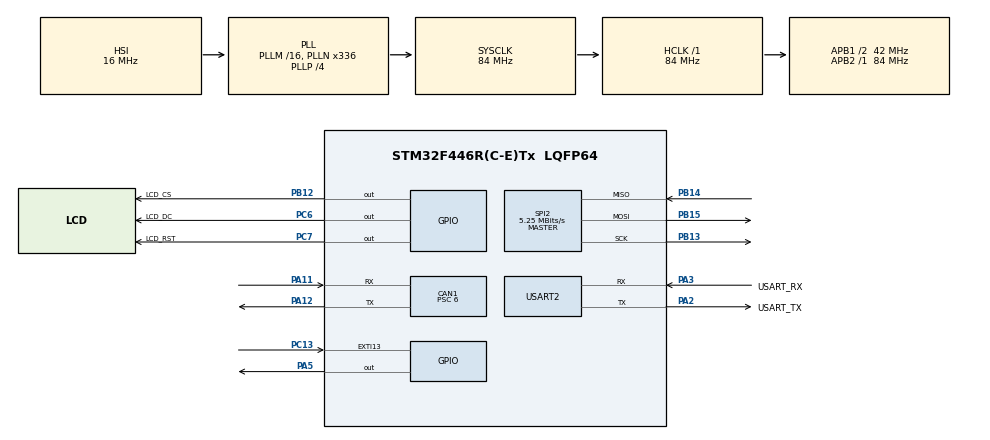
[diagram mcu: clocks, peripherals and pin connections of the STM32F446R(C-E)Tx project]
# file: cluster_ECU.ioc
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CAN1.ABOM=ENABLE
CAN1.BS1=CAN_BS1_11TQ
CAN1.BS2=CAN_BS2_2TQ
CAN1.CalculateBaudRate=500000
CAN1.CalculateTimeBit=2000
CAN1.CalculateTimeQuantum=142.85714285714286
CAN1.Mode=CAN_MODE_NORMAL
CAN1.NART=ENABLE
CAN1.Prescaler=6
Dma.Request0=SPI2_TX
Dma.SPI2_TX.0.Direction=DMA_MEMORY_TO_PERIPH
Dma.SPI2_TX.0.FIFOMode=DMA_FIFOMODE_DISABLE
Dma.SPI2_TX.0.Instance=DMA1_Stream4
Dma.SPI2_TX.0.MemDataAlignment=DMA_MDATAALIGN_BYTE
Dma.SPI2_TX.0.MemInc=DMA_MINC_ENABLE
Dma.SPI2_TX.0.Mode=DMA_NORMAL
Dma.SPI2_TX.0.PeriphDataAlignment=DMA_PDATAALIGN_BYTE
Dma.SPI2_TX.0.PeriphInc=DMA_PINC_DISABLE
Dma.SPI2_TX.0.Priority=DMA_PRIORITY_LOW
FREERTOS.Tasks01=defaultTask,24,2048,StartDefaultTask,Default,NULL,Dynamic,NULL,NULL;canTask,32,512,StartCanTask,Default,NULL,Dynamic,NULL,NULL
FREERTOS.configCHECK_FOR_STACK_OVERFLOW=2
FREERTOS.configUSE_NEWLIB_REENTRANT=1
Mcu.Family=STM32F4
Mcu.Name=STM32F446R(C-E)Tx
Mcu.Package=LQFP64
NUCLEO-F446RE.BUTTON=1
NUCLEO-F446RE.LD1=true
NVIC.CAN1_RX0_IRQn=true\:5\:0\:false\:false\:true\:true\:true\:true\:true
NVIC.CAN1_SCE_IRQn=true\:5\:0\:false\:false\:true\:true\:true\:true\:true
NVIC.DMA1_Stream4_IRQn=true\:5\:0\:false\:false\:true\:true\:false\:true\:true
NVIC.EXTI15_10_IRQn=true\:5\:0\:false\:false\:true\:true\:false\:true\:true
NVIC.PriorityGroup=NVIC_PRIORITYGROUP_4
NVIC.SPI2_IRQn=true\:5\:0\:false\:false\:true\:true\:true\:true\:true
NVIC.TIM6_DAC_IRQn=true\:15\:0\:false\:false\:true\:false\:false\:true\:true
NVIC.TimeBase=TIM6_DAC_IRQn
NVIC.TimeBaseIP=TIM6
PA11.GPIO_PuPd=GPIO_PULLUP
PA11.Mode=CAN_Activate
PA11.Signal=CAN1_RX
PA12.GPIO_PuPd=GPIO_PULLUP
PA12.Mode=CAN_Activate
PA12.Signal=CAN1_TX
PA13.GPIO_Label=TMS
PA13.Signal=SYS_JTMS-SWDIO
PA14.GPIO_Label=TCK
PA14.Signal=SYS_JTCK-SWCLK
PA2.GPIO_Label=USART_TX
PA2.Mode=Asynchronous
PA2.Signal=USART2_TX
PA3.GPIO_Label=USART_RX
PA3.Mode=Asynchronous
PA3.Signal=USART2_RX
PA5.Signal=GPIO_Output
PB12.GPIO_Label=LCD_CS
PB12.GPIO_Speed=GPIO_SPEED_FREQ_HIGH
PB12.PinState=GPIO_PIN_SET
PB12.Signal=GPIO_Output
PB13.Mode=Full_Duplex_Master
PB13.Signal=SPI2_SCK
PB14.Mode=Full_Duplex_Master
PB14.Signal=SPI2_MISO
PB15.Mode=Full_Duplex_Master
PB15.Signal=SPI2_MOSI
PB3.GPIO_Label=SWO
PB3.Signal=SYS_JTDO-SWO
PC13.Signal=GPXTI13
PC14-OSC32_IN.Signal=RCC_OSC32_IN
PC15-OSC32_OUT.Signal=RCC_OSC32_OUT
PC6.GPIO_Label=LCD_DC
PC6.GPIO_Speed=GPIO_SPEED_FREQ_HIGH
PC6.Signal=GPIO_Output
PC7.GPIO_Label=LCD_RST
PC7.GPIO_Speed=GPIO_SPEED_FREQ_HIGH
PC7.PinState=GPIO_PIN_SET
PC7.Signal=GPIO_Output
PH0-OSC_IN.Signal=RCC_OSC_IN
PH1-OSC_OUT.Signal=RCC_OSC_OUT
ProjectManager.HeapSize=0x200
ProjectManager.StackSize=0x400
ProjectManager.TargetToolchain=STM32CubeIDE
RCC.AHBFreq_Value=84000000
RCC.APB1CLKDivider=RCC_HCLK_DIV2
RCC.APB1Freq_Value=42000000
RCC.APB1TimFreq_Value=84000000
RCC.APB2Freq_Value=84000000
RCC.APB2TimFreq_Value=84000000
RCC.CortexFreq_Value=84000000
RCC.FLatency-AdvancedSettings=FLASH_LATENCY_2
RCC.HCLKFreq_Value=84000000
RCC.HSE_VALUE=8000000
RCC.HSI_VALUE=16000000
RCC.LSE_VALUE=32768
RCC.PLLN=336
RCC.PLLP=RCC_PLLP_DIV4
RCC.SYSCLKFreq_VALUE=84000000
RCC.SYSCLKSource=RCC_SYSCLKSOURCE_PLLCLK
RCC.USBFreq_Value=168000000
RCC.VCOOutputFreq_Value=336000000
SPI2.BaudRatePrescaler=SPI_BAUDRATEPRESCALER_8
SPI2.CalculateBaudRate=5.25 MBits/s
SPI2.Direction=SPI_DIRECTION_2LINES
SPI2.Mode=SPI_MODE_MASTER
SPI2.VirtualType=VM_MASTER
USART2.VirtualMode=VM_ASYNC
VP_FREERTOS_VS_CMSIS_V2.Mode=CMSIS_V2
VP_NUCLEO-F446RE_VS_BSP_COMMON.Mode=COMMON
VP_SYS_VS_tim6.Mode=TIM6
board=NUCLEO-F446RE

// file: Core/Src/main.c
/* USER CODE BEGIN Header */
/**
  ******************************************************************************
  * @file           : main.c
  * @brief          : Main program body
  ******************************************************************************
  * @attention
  *
  * Copyright (c) 2026 STMicroelectronics.
  * All rights reserved.
  *
  * This software is licensed under terms that can be found in the LICENSE file
  * in the root directory of this software component.
  * If no LICENSE file comes with this software, it is provided AS-IS.
  *
  ******************************************************************************
  */
/* USER CODE END Header */
#include "main.h"
#include "cmsis_os.h"
#include "can.h"
#include "dma.h"
#include "spi.h"
#include "usart.h"
#include "gpio.h"

void SystemClock_Config(void);
void MX_FREERTOS_Init(void);

int main(void)
{

  /* MCU Configuration--------------------------------------------------------*/

  /* Reset of all peripherals, Initializes the Flash interface and the Systick. */
  HAL_Init();

  /* Configure the system clock */
  SystemClock_Config();

  /* Initialize all configured peripherals */
  MX_GPIO_Init();
  MX_DMA_Init();
  MX_CAN1_Init();
  MX_USART2_UART_Init();
  MX_SPI2_Init();

  /* Init scheduler */
  osKernelInitialize();  /* Call init function for freertos objects (in cmsis_os2.c) */
  MX_FREERTOS_Init();

  /* Initialize leds */
  BSP_LED_Init(LED2);

  /* Initialize USER push-button, will be used to trigger an interrupt each time it's pressed.*/
  BSP_PB_Init(BUTTON_USER, BUTTON_MODE_EXTI);

  /* Start scheduler */
  osKernelStart();

  /* We should never get here as control is now taken by the scheduler */

  /* Infinite loop */
  while (1)
  {

  }
}

void SystemClock_Config(void)
{
  RCC_OscInitTypeDef RCC_OscInitStruct = {0};
  RCC_ClkInitTypeDef RCC_ClkInitStruct = {0};

  /** Configure the main internal regulator output voltage
  */
  __HAL_RCC_PWR_CLK_ENABLE();
  __HAL_PWR_VOLTAGESCALING_CONFIG(PWR_REGULATOR_VOLTAGE_SCALE3);

  /** Initializes the RCC Oscillators according to the specified parameters
  * in the RCC_OscInitTypeDef structure.
  */
  RCC_OscInitStruct.OscillatorType = RCC_OSCILLATORTYPE_HSI;
  RCC_OscInitStruct.HSIState = RCC_HSI_ON;
  RCC_OscInitStruct.HSICalibrationValue = RCC_HSICALIBRATION_DEFAULT;
  RCC_OscInitStruct.PLL.PLLState = RCC_PLL_ON;
  RCC_OscInitStruct.PLL.PLLSource = RCC_PLLSOURCE_HSI;
  RCC_OscInitStruct.PLL.PLLM = 16;
  RCC_OscInitStruct.PLL.PLLN = 336;
  RCC_OscInitStruct.PLL.PLLP = RCC_PLLP_DIV4;
  RCC_OscInitStruct.PLL.PLLQ = 2;
  RCC_OscInitStruct.PLL.PLLR = 2;
  if (HAL_RCC_OscConfig(&RCC_OscInitStruct) != HAL_OK)
  {
    Error_Handler();
  }

  /** Initializes the CPU, AHB and APB buses clocks
  */
  RCC_ClkInitStruct.ClockType = RCC_CLOCKTYPE_HCLK|RCC_CLOCKTYPE_SYSCLK
                              |RCC_CLOCKTYPE_PCLK1|RCC_CLOCKTYPE_PCLK2;
  RCC_ClkInitStruct.SYSCLKSource = RCC_SYSCLKSOURCE_PLLCLK;
  RCC_ClkInitStruct.AHBCLKDivider = RCC_SYSCLK_DIV1;
  RCC_ClkInitStruct.APB1CLKDivider = RCC_HCLK_DIV2;
  RCC_ClkInitStruct.APB2CLKDivider = RCC_HCLK_DIV1;

  if (HAL_RCC_ClockConfig(&RCC_ClkInitStruct, FLASH_LATENCY_2) != HAL_OK)
  {
    Error_Handler();
  }
}

void HAL_TIM_PeriodElapsedCallback(TIM_HandleTypeDef *htim)
{
  if (htim->Instance == TIM6)
  {
    HAL_IncTick();
  }
}

void Error_Handler(void)
{
  __disable_irq();
  while (1)
  {
  }
}

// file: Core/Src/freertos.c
/* USER CODE BEGIN Header */
/**
  ******************************************************************************
  * File Name          : freertos.c
  * Description        : Code for freertos applications
  ******************************************************************************
  * @attention
  *
  * Copyright (c) 2026 STMicroelectronics.
  * All rights reserved.
  *
  * This software is licensed under terms that can be found in the LICENSE file
  * in the root directory of this software component.
  * If no LICENSE file comes with this software, it is provided AS-IS.
  *
  ******************************************************************************
  */
/* USER CODE END Header */

#include "FreeRTOS.h"
#include "task.h"
#include "main.h"
#include "cmsis_os.h"

/* USER CODE BEGIN Includes */
#include "cluster_ui.h"
#include "cluster_can.h"

/* USER CODE END Includes */

/* USER CODE BEGIN Variables */
volatile HAL_StatusTypeDef cluster_ui_status = HAL_OK;
volatile uint32_t ui_stack_free_words;
volatile uint32_t can_stack_free_words;

volatile uint32_t cluster_heap_free_bytes;
volatile TaskHandle_t stack_overflow_task;

/* USER CODE END Variables */
/* Definitions for defaultTask */
osThreadId_t defaultTaskHandle;
const osThreadAttr_t defaultTask_attributes = {
  .name = "defaultTask",
  .stack_size = 2048 * 4,
  .priority = (osPriority_t) osPriorityNormal,
};
/* Definitions for canTask */
osThreadId_t canTaskHandle;
const osThreadAttr_t canTask_attributes = {
  .name = "canTask",
  .stack_size = 512 * 4,
  .priority = (osPriority_t) osPriorityAboveNormal,
};

void StartDefaultTask(void *argument);
void StartCanTask(void *argument);

void MX_FREERTOS_Init(void); /* (MISRA C 2004 rule 8.1) */

/* Hook prototypes */
void vApplicationStackOverflowHook(xTaskHandle xTask, signed char *pcTaskName);

/* USER CODE BEGIN 4 */
void vApplicationStackOverflowHook(xTaskHandle xTask, signed char *pcTaskName)
{
  (void)pcTaskName;
  stack_overflow_task = xTask;
  taskDISABLE_INTERRUPTS();
  for (;;) { }
}
/* USER CODE END 4 */

void MX_FREERTOS_Init(void) {

  /* Create the thread(s) */
  /* creation of defaultTask */
  defaultTaskHandle = osThreadNew(StartDefaultTask, NULL, &defaultTask_attributes);

  /* creation of canTask */
  canTaskHandle = osThreadNew(StartCanTask, NULL, &canTask_attributes);

  /* USER CODE BEGIN RTOS_THREADS */
  if (defaultTaskHandle == NULL || canTaskHandle == NULL) Error_Handler();
  /* USER CODE END RTOS_THREADS */

}

void StartDefaultTask(void *argument)
{
  /* USER CODE BEGIN StartDefaultTask */

  (void)argument;
  cluster_ui_status = cluster_ui_init();
  extern volatile HAL_StatusTypeDef cluster_can_status;
  if (cluster_ui_status == HAL_OK && (osThreadFlagsSet(canTaskHandle, 1U) & osFlagsError))
    cluster_ui_status = HAL_ERROR;
  uint32_t last_led = HAL_GetTick();
  for (;;) {
    if (cluster_ui_status == HAL_OK) {
      cluster_ui_status = cluster_ui_process();
    }
    cluster_heap_free_bytes = xPortGetFreeHeapSize();
    ui_stack_free_words = uxTaskGetStackHighWaterMark(NULL);
    uint32_t now = HAL_GetTick();
    if (now - last_led >= (cluster_ui_status == HAL_OK && cluster_can_status == HAL_OK && cluster_can_current_errors==0 ? 500U : 100U)) {
      last_led = now;
      HAL_GPIO_TogglePin(GPIOA, GPIO_PIN_5);
    }
    osDelay(5);
  }
  /* USER CODE END StartDefaultTask */
}

void StartCanTask(void *argument)
{
  /* USER CODE BEGIN StartCanTask */
  (void)argument;
  /* Avoid CAN startup before the first full-screen paint completes. */
  if (osThreadFlagsWait(1U, osFlagsWaitAny, osWaitForever) & osFlagsError)
    Error_Handler();
  extern volatile HAL_StatusTypeDef cluster_can_status;
  cluster_can_status=cluster_can_init(CLUSTER_CAN_LOOPBACK || !CLUSTER_TEST_INPUT);
  uint32_t wake=osKernelGetTickCount();
  for (;;) {
    if (cluster_can_status == HAL_OK) {
      cluster_can_process();
      cluster_ui_update_input();
    }
    can_stack_free_words=uxTaskGetStackHighWaterMark(NULL);
    wake += 5U; /* FreeRTOS tick is 1 ms. */
    if ((int32_t)(wake-osKernelGetTickCount()) <= 0)
      wake=osKernelGetTickCount()+5U;
    osDelayUntil(wake);
  }
  /* USER CODE END StartCanTask */
}
